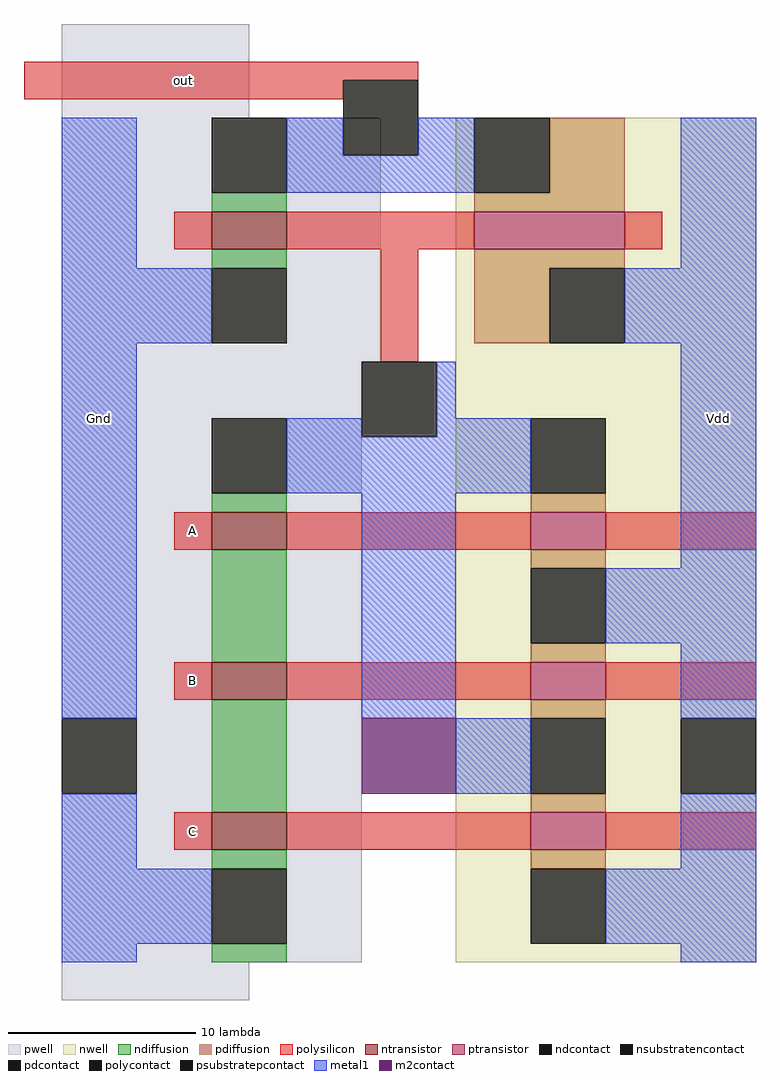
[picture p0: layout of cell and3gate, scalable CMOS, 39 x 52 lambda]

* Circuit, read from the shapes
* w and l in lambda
.subckt and3gate A B C Gnd Vdd out
M1 n1 C Gnd Gnd nfet w=4 l=2
M2 n2 B n1 Gnd nfet w=4 l=2
M3 n3 A n2 Gnd nfet w=4 l=2
M4 out n3 Gnd Gnd nfet w=4 l=2
M5 out n3 Vdd Vdd pfet w=8 l=2
M6 n3 C Vdd Vdd pfet w=4 l=2
M7 Vdd B n3 Vdd pfet w=4 l=2
M8 n3 A Vdd Vdd pfet w=4 l=2
.ends

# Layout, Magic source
magic
tech scmos
<< pwell >>
rect -89 54 -79 59
rect -89 41 -72 54
rect -89 9 -73 41
rect -89 7 -79 9
<< nwell >>
rect -68 9 -52 54
<< polysilicon >>
rect -91 56 -70 57
rect -91 55 -74 56
rect -83 47 -81 49
rect -77 47 -67 49
rect -59 47 -57 49
rect -72 41 -70 47
rect -83 31 -81 33
rect -77 31 -64 33
rect -60 31 -52 33
rect -83 23 -81 25
rect -77 23 -64 25
rect -60 23 -52 25
rect -83 15 -81 17
rect -77 15 -64 17
rect -60 15 -52 17
<< ndiffusion >>
rect -81 49 -77 50
rect -81 46 -77 47
rect -81 33 -77 34
rect -81 25 -77 31
rect -81 17 -77 23
rect -81 14 -77 15
rect -81 9 -77 10
<< pdiffusion >>
rect -63 50 -59 54
rect -67 49 -59 50
rect -67 46 -59 47
rect -67 42 -63 46
rect -64 33 -60 34
rect -64 30 -60 31
rect -64 25 -60 26
rect -64 22 -60 23
rect -64 17 -60 18
rect -64 14 -60 15
<< metal1 >>
rect -89 46 -85 54
rect -77 52 -74 54
rect -70 52 -67 54
rect -77 50 -67 52
rect -56 46 -52 54
rect -89 42 -81 46
rect -59 42 -52 46
rect -89 22 -85 42
rect -77 37 -73 38
rect -69 38 -68 41
rect -69 37 -64 38
rect -77 34 -64 37
rect -73 22 -68 34
rect -56 30 -52 42
rect -60 26 -52 30
rect -56 22 -52 26
rect -68 18 -64 22
rect -89 14 -85 18
rect -56 14 -52 18
rect -89 10 -81 14
rect -60 10 -52 14
rect -89 9 -85 10
rect -56 9 -52 10
<< ntransistor >>
rect -81 47 -77 49
rect -81 31 -77 33
rect -81 23 -77 25
rect -81 15 -77 17
<< ptransistor >>
rect -67 47 -59 49
rect -64 31 -60 33
rect -64 23 -60 25
rect -64 15 -60 17
<< polycontact >>
rect -74 52 -70 56
rect -73 37 -69 41
<< ndcontact >>
rect -81 50 -77 54
rect -81 42 -77 46
rect -81 34 -77 38
rect -81 10 -77 14
<< pdcontact >>
rect -67 50 -63 54
rect -63 42 -59 46
rect -64 34 -60 38
rect -64 26 -60 30
rect -64 18 -60 22
rect -64 10 -60 14
<< m2contact >>
rect -73 18 -68 22
<< psubstratepcontact >>
rect -89 18 -85 22
<< nsubstratencontact >>
rect -56 18 -52 22
<< labels >>
rlabel polysilicon -91 55 -74 57 5 out
rlabel polysilicon -83 31 -81 33 1 A
rlabel polysilicon -83 23 -81 25 1 B
rlabel polysilicon -83 15 -81 17 1 C
rlabel metal1 -89 22 -85 54 3 Gnd
rlabel metal1 -56 22 -52 54 7 Vdd
<< end >>
